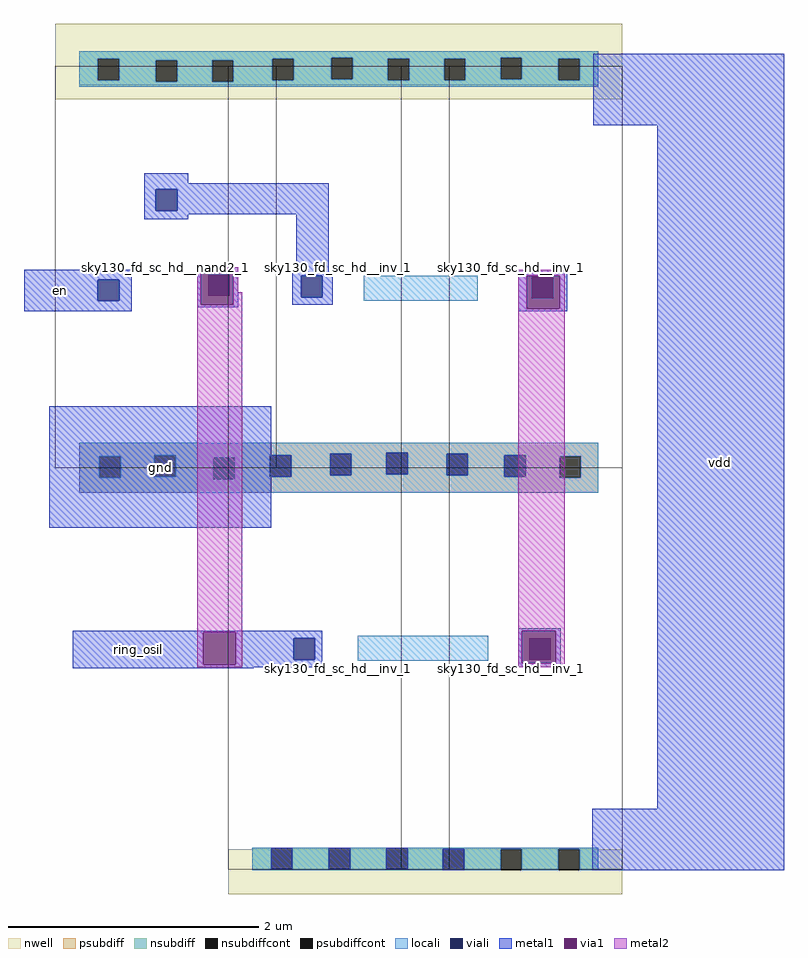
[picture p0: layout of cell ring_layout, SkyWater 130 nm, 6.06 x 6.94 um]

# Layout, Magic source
magic
tech sky130A
<< nwell >>
rect 58 937 510 997
rect 230 339 247 340
rect 276 339 293 340
rect 322 339 339 340
rect 196 303 510 339
<< psubdiff >>
rect 77 655 491 663
rect 77 654 322 655
rect 77 653 277 654
rect 77 652 137 653
rect 77 635 93 652
rect 110 636 137 652
rect 154 651 229 653
rect 154 636 184 651
rect 110 635 184 636
rect 77 634 184 635
rect 201 636 229 651
rect 246 637 277 653
rect 294 638 322 654
rect 339 654 491 655
rect 339 638 370 654
rect 294 637 370 638
rect 387 653 491 654
rect 387 637 416 653
rect 246 636 416 637
rect 433 652 491 653
rect 433 636 460 652
rect 201 635 460 636
rect 477 635 491 652
rect 201 634 491 635
rect 77 623 491 634
<< nsubdiff >>
rect 77 970 491 975
rect 77 969 278 970
rect 77 952 92 969
rect 109 968 231 969
rect 109 952 138 968
rect 77 951 138 952
rect 155 951 183 968
rect 200 952 231 968
rect 248 953 278 969
rect 295 969 413 970
rect 295 953 323 969
rect 248 952 323 953
rect 340 952 368 969
rect 385 953 413 969
rect 430 969 491 970
rect 430 953 459 969
rect 385 952 459 953
rect 476 952 491 969
rect 200 951 491 952
rect 77 948 491 951
rect 215 323 230 340
rect 247 323 276 340
rect 293 323 322 340
rect 339 339 491 340
rect 339 323 367 339
rect 215 322 367 323
rect 384 322 413 339
rect 430 322 459 339
rect 476 322 491 339
<< psubdiffcont >>
rect 93 635 110 652
rect 137 636 154 653
rect 184 634 201 651
rect 229 636 246 653
rect 277 637 294 654
rect 322 638 339 655
rect 370 637 387 654
rect 416 636 433 653
rect 460 635 477 652
<< nsubdiffcont >>
rect 92 952 109 969
rect 138 951 155 968
rect 183 951 200 968
rect 231 952 248 969
rect 278 953 295 970
rect 323 952 340 969
rect 368 952 385 969
rect 413 953 430 970
rect 459 952 476 969
rect 230 323 247 340
rect 276 323 293 340
rect 322 323 339 340
rect 367 322 384 339
rect 413 322 430 339
rect 459 322 476 339
<< locali >>
rect 77 970 491 975
rect 77 969 278 970
rect 77 952 92 969
rect 109 968 231 969
rect 109 952 138 968
rect 77 951 138 952
rect 155 951 183 968
rect 200 952 231 968
rect 248 953 278 969
rect 295 969 413 970
rect 295 953 323 969
rect 248 952 323 953
rect 340 952 368 969
rect 385 953 413 969
rect 430 969 491 970
rect 430 953 459 969
rect 385 952 459 953
rect 476 952 491 969
rect 200 951 491 952
rect 77 947 491 951
rect 304 776 395 796
rect 77 655 491 663
rect 77 654 322 655
rect 77 653 277 654
rect 77 652 137 653
rect 77 635 93 652
rect 110 636 137 652
rect 154 651 229 653
rect 154 636 184 651
rect 110 635 184 636
rect 77 634 184 635
rect 201 636 229 651
rect 246 637 277 653
rect 294 638 322 654
rect 339 654 491 655
rect 339 638 370 654
rect 294 637 370 638
rect 387 653 491 654
rect 387 637 416 653
rect 246 636 416 637
rect 433 652 491 653
rect 433 636 460 652
rect 201 635 460 636
rect 477 635 491 652
rect 201 634 491 635
rect 77 623 491 634
rect 299 489 403 509
rect 215 323 230 340
rect 247 323 276 340
rect 293 323 322 340
rect 339 339 491 340
rect 339 323 367 339
rect 215 322 367 323
rect 384 322 413 339
rect 430 322 459 339
rect 476 322 491 339
<< viali >>
rect 138 848 155 865
rect 92 776 109 793
rect 180 780 197 797
rect 254 779 271 796
rect 438 778 455 795
rect 248 490 265 507
rect 436 490 453 507
<< metal1 >>
rect 487 916 639 973
rect 129 870 164 878
rect 129 865 276 870
rect 129 848 138 865
rect 155 848 276 865
rect 129 845 276 848
rect 129 841 164 845
rect 33 793 119 801
rect 33 776 92 793
rect 109 776 119 793
rect 33 768 119 776
rect 171 799 204 803
rect 250 799 276 845
rect 171 773 174 799
rect 200 773 204 799
rect 247 796 279 799
rect 247 779 254 796
rect 271 779 279 796
rect 247 773 279 779
rect 427 796 466 801
rect 171 771 204 773
rect 427 770 434 796
rect 460 770 466 796
rect 427 768 466 770
rect 53 653 230 692
rect 53 636 246 653
rect 277 637 294 654
rect 322 638 339 655
rect 370 637 387 654
rect 416 636 433 653
rect 53 595 230 636
rect 427 513 461 515
rect 72 512 271 513
rect 72 486 176 512
rect 202 507 271 512
rect 202 490 248 507
rect 265 490 271 507
rect 202 486 271 490
rect 72 484 271 486
rect 427 487 430 513
rect 457 487 461 513
rect 427 484 461 487
rect 72 483 216 484
rect 538 371 639 916
rect 230 323 247 340
rect 276 323 293 340
rect 322 323 339 340
rect 367 322 384 339
rect 486 322 639 371
<< via1 >>
rect 174 797 200 799
rect 174 780 180 797
rect 180 780 197 797
rect 197 780 200 797
rect 174 773 200 780
rect 434 795 460 796
rect 434 778 438 795
rect 438 778 455 795
rect 455 778 460 795
rect 434 770 460 778
rect 176 486 202 512
rect 430 507 457 513
rect 430 490 436 507
rect 436 490 453 507
rect 453 490 457 507
rect 430 487 457 490
<< metal2 >>
rect 171 799 204 803
rect 171 773 174 799
rect 200 783 204 799
rect 427 796 464 801
rect 200 773 207 783
rect 171 512 207 773
rect 171 486 176 512
rect 202 486 207 512
rect 171 484 207 486
rect 427 770 434 796
rect 460 770 464 796
rect 427 513 464 770
rect 427 487 430 513
rect 457 487 464 513
rect 427 484 464 487
use sky130_fd_sc_hd__inv_1  x1 $PDKPATH/libs.ref/sky130_fd_sc_hd/mag
transform 1 0 215 0 1 667
box -19 -24 157 296
use sky130_fd_sc_hd__inv_1  x2
transform 1 0 353 0 1 667
box -19 -24 157 296
use sky130_fd_sc_hd__inv_1  x3
transform -1 0 491 0 -1 619
box -19 -24 157 296
use sky130_fd_sc_hd__inv_1  x4
transform -1 0 353 0 -1 619
box -19 -24 157 296
use sky130_fd_sc_hd__nand2_1  x5 $PDKPATH/libs.ref/sky130_fd_sc_hd/mag
transform -1 0 215 0 1 667
box -19 -24 157 296
<< labels >>
flabel metal1 72 483 176 513 0 FreeSans 160 0 0 0 ring_osil
port 1 nsew
flabel metal1 538 322 639 973 0 FreeSans 160 0 0 0 vdd
port 2 nsew
flabel metal1 33 768 92 801 0 FreeSans 160 0 0 0 en
port 0 nsew
flabel metal1 53 595 230 692 0 FreeSans 160 0 0 0 gnd
port 5 nsew
<< end >>
